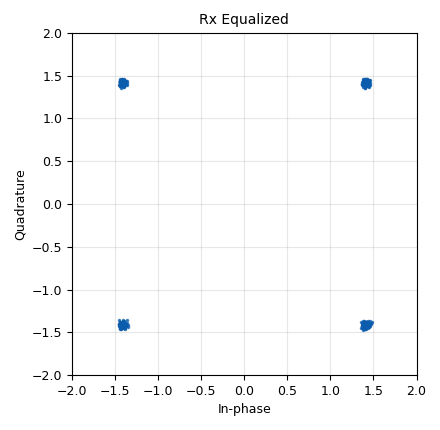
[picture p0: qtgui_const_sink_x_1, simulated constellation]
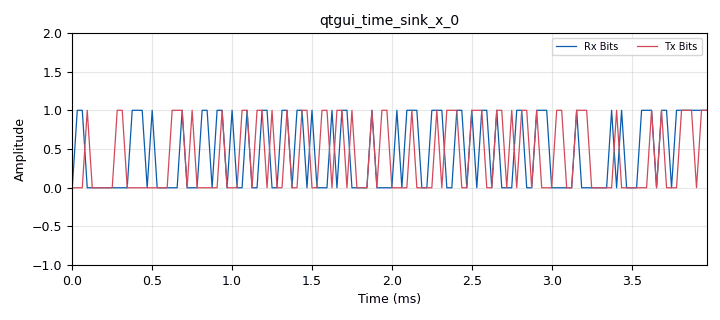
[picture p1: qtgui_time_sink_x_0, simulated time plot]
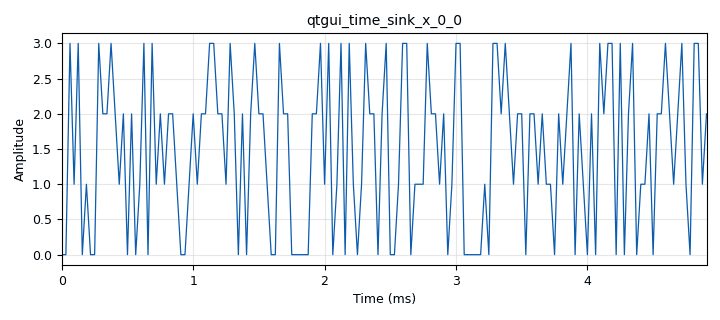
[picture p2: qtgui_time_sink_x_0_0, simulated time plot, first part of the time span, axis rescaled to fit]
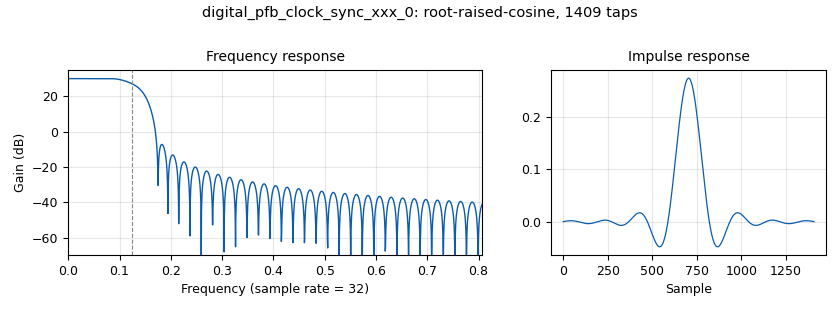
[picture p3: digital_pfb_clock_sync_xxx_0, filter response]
options:
  parameters:
    author: David Venegas
    generate_options: qt_gui
    id: Stage5_Decoder
    output_language: python
    title: Decoder
  states: {}

blocks:
- name: AWGN
  id: variable_qtgui_range
  parameters:
    label: 'Channel: Noise Voltage'
    orient: Qt.Horizontal
    start: '0'
    step: '0.01'
    stop: '1'
    value: '0.0001'
  states: {}
- name: Delay
  id: variable_qtgui_range
  parameters:
    label: Delay
    orient: Qt.Horizontal
    start: '0'
    step: '1'
    stop: '200'
    value: '50'
  states: {}
- name: Eq_Gain
  id: variable_qtgui_range
  parameters:
    label: 'Eq: Rate'
    orient: Qt.Horizontal
    start: '0'
    step: '0.001'
    stop: '0.1'
    value: '0.01'
  states: {}
- name: Freq_Offset
  id: variable_qtgui_range
  parameters:
    label: 'Channel: Frequency Offset'
    orient: Qt.Horizontal
    start: '-0.1'
    step: '0.001'
    stop: '0.1'
    value: '0'
  states: {}
- name: Pahse_BW
  id: variable_qtgui_range
  parameters:
    label: 'Phase: BW'
    orient: Qt.Horizontal
    start: '0'
    step: '0.01'
    stop: '1'
    value: '0.0628'
  states: {}
- name: QPSK
  id: variable_constellation_rect
  parameters:
    const_points: '[-0.707-0.707j, -0.707+0.707j, 0.707+0.707j, 0.707-0.707j]'
    imag_sect: '2'
    real_sect: '2'
    rot_sym: '4'
    sym_map: '[0, 1, 2, 3]'
    w_imag_sect: '1'
    w_real_sect: '1'
  states: {}
- name: Time_Offset
  id: variable_qtgui_range
  parameters:
    label: 'Channel: Timing Offset'
    orient: Qt.Horizontal
    start: '0.999'
    step: '0.0001'
    stop: '1.001'
    value: '1'
  states: {}
- name: Timming_Loop_bw
  id: variable_qtgui_range
  parameters:
    label: 'Time: BW'
    orient: Qt.Horizontal
    start: '0'
    step: '0.01'
    stop: '0.2'
    value: '0.0628'
  states: {}
- name: excess_bw
  id: variable
  parameters:
    value: '0.35'
  states: {}
- name: nfilts
  id: variable
  parameters:
    value: '32'
  states: {}
- name: root_raise_cosine
  id: variable
  parameters:
    value: firdes.root_raised_cosine(nfilts, nfilts, 1.0/float(sps), 0.35, 11*sps*nfilts)
  states: {}
- name: samp_rate
  id: variable
  parameters:
    value: '32000'
  states: {}
- name: sps
  id: variable
  parameters:
    value: '4'
  states: {}
- name: Controls
  id: qtgui_tab_widget
  parameters:
    label0: Channel
    label1: Receiver
    num_tabs: '2'
  states: {}
- name: analog_random_source_x_0
  id: analog_random_source_x
  parameters:
    max: '255'
    min: '0'
    num_samps: '10000'
    repeat: 'True'
    type: byte
  states: {}
- name: blocks_char_to_float_0
  id: blocks_char_to_float
  parameters:
    scale: '1'
  states: {}
- name: blocks_char_to_float_0_0
  id: blocks_char_to_float
  parameters:
    scale: '1'
  states: {}
- name: blocks_char_to_float_0_0_0
  id: blocks_char_to_float
  parameters:
    scale: '1'
  states: {}
- name: blocks_delay_0
  id: blocks_delay
  parameters:
    delay: '50'
    type: float
  states: {}
- name: blocks_throttle_0
  id: blocks_throttle
  parameters:
    samples_per_second: samp_rate
    type: complex
  states: {}
- name: blocks_unpack_k_bits_bb_0
  id: blocks_unpack_k_bits_bb
  parameters:
    k: '2'
  states: {}
- name: blocks_unpack_k_bits_bb_1
  id: blocks_unpack_k_bits_bb
  parameters:
    k: '8'
  states: {}
- name: channels_channel_model_0
  id: channels_channel_model
  parameters:
    epsilon: '1'
    freq_offset: '0'
    noise_voltage: '0.0001'
    seed: '0'
    taps: '1'
  states: {}
- name: digital_cma_equalizer_cc_0
  id: digital_cma_equalizer_cc
  parameters:
    modulus: '4'
    mu: Eq_Gain
    num_taps: '15'
    sps: '2'
  states: {}
- name: digital_constellation_decoder_cb_0
  id: digital_constellation_decoder_cb
  parameters:
    constellation: QPSK
  states: {}
- name: digital_constellation_modulator_0
  id: digital_constellation_modulator
  parameters:
    constellation: QPSK
    differential: 'True'
    excess_bw: '0.35'
    samples_per_symbol: '4'
  states: {}
- name: digital_costas_loop_cc_0
  id: digital_costas_loop_cc
  parameters:
    order: '4'
    w: '0.0628'
  states: {}
- name: digital_diff_decoder_bb_0
  id: digital_diff_decoder_bb
  parameters:
    modulus: '4'
  states: {}
- name: digital_map_bb_0
  id: digital_map_bb
  parameters:
    map: '[0,1,2,3]'
  states: {}
- name: digital_pfb_clock_sync_xxx_0
  id: digital_pfb_clock_sync_xxx
  parameters:
    filter_size: '32'
    init_phase: '16'
    loop_bw: '0.0628'
    max_dev: '1.5'
    osps: '2'
    sps: '4.004'
    taps: root_raise_cosine
    type: ccf
  states: {}
- name: qtgui_const_sink_x_1
  id: qtgui_const_sink_x
  parameters:
    name: '"Rx Equalized"'
    size: '1024'
    type: complex
  states: {}
- name: qtgui_time_sink_x_0
  id: qtgui_time_sink_x
  parameters:
    label1: Rx Bits
    label2: Tx Bits
    nconnections: '2'
    size: '128'
    srate: samp_rate
    type: float
    ymax: '2'
  states: {}
- name: qtgui_time_sink_x_0_0
  id: qtgui_time_sink_x
  parameters:
    size: '500'
    srate: samp_rate
    type: float
    ymax: '2'
  states: {}
- name: recieved
  id: qtgui_tab_widget
  parameters:
    label0: Constellation
    label1: Symbols
    num_tabs: '2'
  states: {}

connections:
- [analog_random_source_x_0, '0', blocks_unpack_k_bits_bb_1, '0']
- [analog_random_source_x_0, '0', digital_constellation_modulator_0, '0']
- [blocks_char_to_float_0, '0', qtgui_time_sink_x_0, '0']
- [blocks_char_to_float_0_0, '0', qtgui_time_sink_x_0_0, '0']
- [blocks_char_to_float_0_0_0, '0', blocks_delay_0, '0']
- [blocks_delay_0, '0', qtgui_time_sink_x_0, '1']
- [blocks_throttle_0, '0', channels_channel_model_0, '0']
- [blocks_unpack_k_bits_bb_0, '0', blocks_char_to_float_0, '0']
- [blocks_unpack_k_bits_bb_1, '0', blocks_char_to_float_0_0_0, '0']
- [channels_channel_model_0, '0', digital_pfb_clock_sync_xxx_0, '0']
- [digital_cma_equalizer_cc_0, '0', digital_costas_loop_cc_0, '0']
- [digital_constellation_decoder_cb_0, '0', blocks_char_to_float_0_0, '0']
- [digital_constellation_decoder_cb_0, '0', digital_diff_decoder_bb_0, '0']
- [digital_constellation_modulator_0, '0', blocks_throttle_0, '0']
- [digital_costas_loop_cc_0, '0', digital_constellation_decoder_cb_0, '0']
- [digital_costas_loop_cc_0, '0', qtgui_const_sink_x_1, '0']
- [digital_diff_decoder_bb_0, '0', digital_map_bb_0, '0']
- [digital_map_bb_0, '0', blocks_unpack_k_bits_bb_0, '0']
- [digital_pfb_clock_sync_xxx_0, '0', digital_cma_equalizer_cc_0, '0']

metadata:
  file_format: 1
